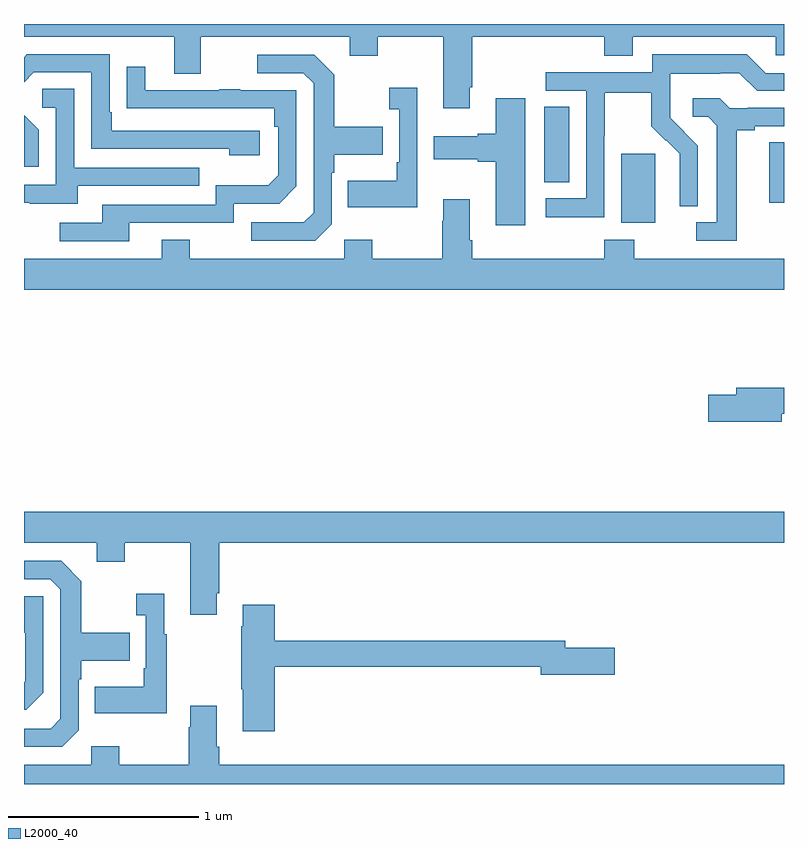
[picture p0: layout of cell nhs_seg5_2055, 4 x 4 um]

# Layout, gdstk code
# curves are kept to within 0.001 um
import gdstk
lib = gdstk.Library(unit=1e-6, precision=1e-09)
def R(c, l, rs):  # rectangles x0, y0, x1, y1
    for r in rs: c.add(gdstk.rectangle(r[:2], r[2:], *l))
def P(c, l, *ps):  # polygons
    for p in ps: c.add(gdstk.Polygon(p, *l))
L2000_40 = (2000, 40)

nhs_seg5_2055 = lib.new_cell('nhs_seg5_2055')
R(nhs_seg5_2055, L2000_40, [(234.143,883.754,234.322,884.115), (234.923,883.857,235,884.177), (233.738,883.966,233.869,884.363)])
P(nhs_seg5_2055, L2000_40, [(233.347,884.467),(233.36,884.467),(233.36,884.732),(234.053,884.732),(234.053,884.633),(234.205,884.633),(234.205,884.732),(234.957,884.732),(234.957,884.634),(235,884.634),(235,884.799),(231,884.799),(231,884.732),(231.791,884.732),(231.791,884.538),(231.931,884.538),(231.931,884.732),(232.715,884.732),(232.715,884.633),(232.863,884.633),(232.863,884.732),(233.207,884.732),(233.207,884.355),(233.347,884.355)],
  [(234.054,884.212),(234.057,884.212),(234.057,884.436),(234.301,884.436),(234.301,884.261),(234.378,884.184),(234.381,884.187),(234.452,884.117),(234.452,883.994),(234.45,883.994),(234.45,883.84),(234.546,883.84),(234.546,884.158),(234.4,884.306),(234.4,884.403),(234.402,884.403),(234.402,884.537),(234.665,884.537),(234.665,884.541),(234.765,884.541),(234.858,884.448),(235,884.448),(235,884.541),(234.903,884.541),(234.803,884.641),(234.306,884.641),(234.306,884.544),(233.745,884.544),(233.745,884.448),(233.958,884.448),(233.958,883.881),(233.745,883.881),(233.745,883.783),(234.054,883.783)],
  [(232.24,884.238),(231.463,884.238),(231.463,884.335),(231.45,884.335),(231.45,884.64),(231.015,884.64),(231,884.625),(231,884.493),(231.051,884.544),(231.354,884.544),(231.354,884.142),(232.079,884.142),(232.079,884.108),(232.24,884.108)],
  [(232.62,883.746),(232.62,884.015),(232.633,884.015),(232.633,884.111),(232.889,884.111),(232.889,884.259),(232.633,884.259),(232.633,884.531),(232.527,884.637),(232.227,884.637),(232.227,884.541),(232.47,884.541),(232.524,884.487),(232.524,883.806),(232.473,883.755),(232.197,883.755),(232.197,883.659),(232.533,883.659)],
  [(231.553,883.752),(232.104,883.752),(232.104,883.854),(232.344,883.854),(232.434,883.944),(232.434,884.451),(232.139,884.451),(232.139,884.456),(232.027,884.456),(232.027,884.451),(231.637,884.451),(231.637,884.575),(231.541,884.575),(231.541,884.356),(232.318,884.355),(232.318,884.258),(232.338,884.258),(232.338,884.004),(232.285,883.951),(232.008,883.951),(232.008,883.848),(231.413,883.848),(231.413,883.752),(231.189,883.752),(231.189,883.656),(231.553,883.656)],
  [(233.07,884.464),(232.923,884.464),(232.923,884.351),(232.974,884.351),(232.974,884.071),(232.962,884.071),(232.962,883.975),(232.705,883.975),(232.705,883.835),(233.07,883.835)],
  [(231.283,883.947),(231.923,883.947),(231.923,884.043),(231.264,884.043),(231.264,884.459),(231.096,884.459),(231.096,884.358),(231.168,884.358),(231.168,883.953),(231,883.953),(231,883.857),(231.029,883.857),(231.029,883.853),(231.283,883.853)],
  [(233.638,884.407),(233.483,884.407),(233.483,884.222),(233.387,884.222),(233.387,884.209),(233.157,884.209),(233.157,884.087),(233.387,884.087),(233.387,884.075),(233.483,884.075),(233.483,883.74),(233.638,883.74)],
  [(234.751,884.24),(234.847,884.24),(234.847,884.262),(235,884.262),(235,884.358),(234.808,884.358),(234.808,884.355),(234.714,884.355),(234.662,884.407),(234.519,884.407),(234.519,884.31),(234.6,884.31),(234.647,884.263),(234.647,883.755),(234.537,883.755),(234.537,883.659),(234.751,883.659)],
  [(231.078,884.242),(231,884.32),(231,884.049),(231.078,884.049)],
  [(235,883.564),(234.213,883.564),(234.213,883.663),(234.053,883.663),(234.053,883.564),(233.36,883.564),(233.36,883.66),(233.347,883.66),(233.347,883.876),(233.207,883.876),(233.207,883.763),(233.2,883.763),(233.2,883.564),(232.833,883.564),(232.833,883.663),(232.686,883.663),(232.686,883.564),(231.873,883.564),(231.873,883.663),(231.725,883.663),(231.725,883.564),(231,883.564),(231,883.4),(235,883.4)],
  [(234.988,882.748),(235,882.748),(235,882.884),(234.749,882.884),(234.749,882.848),(234.6,882.848),(234.6,882.706),(234.988,882.706)],
  [(232.015,881.803),(232.028,881.803),(232.028,882.068),(235,882.068),(235,882.232),(231,882.232),(231,882.068),(231.383,882.068),(231.383,881.969),(231.531,881.969),(231.531,882.068),(231.875,882.068),(231.875,881.691),(232.015,881.691)],
  [(231.288,881.082),(231.288,881.351),(231.301,881.351),(231.301,881.447),(231.557,881.447),(231.557,881.595),(231.301,881.595),(231.301,881.867),(231.195,881.973),(231,881.973),(231,881.877),(231.138,881.877),(231.192,881.823),(231.192,881.142),(231.141,881.091),(231,881.091),(231,880.995),(231.201,880.995)],
  [(231.751,881.587),(231.739,881.587),(231.739,881.8),(231.591,881.8),(231.591,881.687),(231.642,881.687),(231.642,881.407),(231.63,881.407),(231.63,881.311),(231.373,881.311),(231.373,881.171),(231.751,881.171)],
  [(231.102,881.28),(231.102,881.787),(231,881.787),(231,881.594),(231.006,881.594),(231.006,881.34),(231,881.334),(231,881.19),(231.012,881.19)],
  [(232.319,881.416),(233.72,881.416),(233.72,881.374),(234.109,881.374),(234.109,881.516),(233.848,881.516),(233.848,881.552),(232.319,881.552),(232.319,881.743),(232.151,881.743),(232.151,881.63),(232.144,881.63),(232.144,881.299),(232.151,881.299),(232.151,881.076),(232.319,881.076)],
  [(235,880.9),(232.028,880.9),(232.028,880.996),(232.015,880.996),(232.015,881.212),(231.875,881.212),(231.875,881.099),(231.868,881.099),(231.868,880.9),(231.501,880.9),(231.501,880.999),(231.354,880.999),(231.354,880.9),(231,880.9),(231,880.799),(235,880.799)])

lib.write_gds('nhs_seg5_2055.gds')
